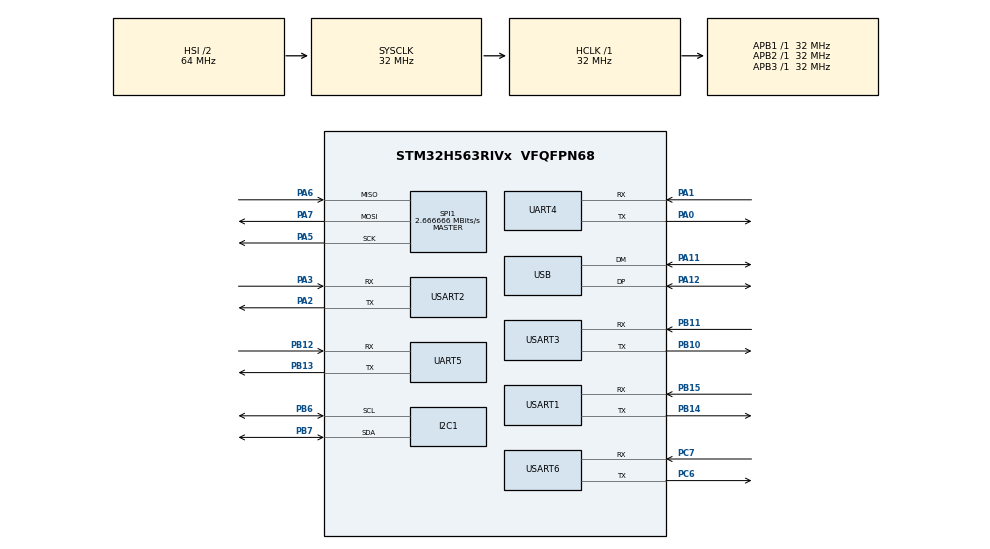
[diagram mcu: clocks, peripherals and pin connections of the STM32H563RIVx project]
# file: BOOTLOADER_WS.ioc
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BOOTPATH.BootPathName=LEGACY
BOOTPATH.UserSelectedBootPath=LEGACY
CORTEX_M33_NS.Number-Cortex_Memory_Protection_Unit_Region0_OTP_RO_AREAS_Settings=MPU_REGION_NUMBER0
CORTEX_M33_NS.default_mode_Activation=1
CORTEX_M33_NS.userName=CORTEX_M33
I2C1.Timing=0x00707CBB
Mcu.Family=STM32H5
Mcu.Name=STM32H563RIVx
Mcu.Package=VFQFPN68
NVIC.PriorityGroup=NVIC_PRIORITYGROUP_4
NVIC.USB_DRD_FS_IRQn=true\:1\:0\:true\:false\:false\:true\:true\:true
PA0.Mode=Asynchronous
PA0.Signal=UART4_TX
PA1.Mode=Asynchronous
PA1.Signal=UART4_RX
PA11.Mode=Device
PA11.Signal=USB_DM
PA12.Mode=Device
PA12.Signal=USB_DP
PA2.Mode=Asynchronous
PA2.Signal=USART2_TX
PA3.Mode=Asynchronous
PA3.Signal=USART2_RX
PA5.Mode=Full_Duplex_Master
PA5.Signal=SPI1_SCK
PA6.Mode=Full_Duplex_Master
PA6.Signal=SPI1_MISO
PA7.Mode=Full_Duplex_Master
PA7.Signal=SPI1_MOSI
PB10.Mode=Asynchronous
PB10.Signal=USART3_TX
PB11.Mode=Asynchronous
PB11.Signal=USART3_RX
PB12.Mode=Asynchronous
PB12.Signal=UART5_RX
PB13.Mode=Asynchronous
PB13.Signal=UART5_TX
PB14.Mode=Asynchronous
PB14.Signal=USART1_TX
PB15.Mode=Asynchronous
PB15.Signal=USART1_RX
PB6.Mode=I2C
PB6.Signal=I2C1_SCL
PB7.Mode=I2C
PB7.Signal=I2C1_SDA
PC6.Mode=Asynchronous
PC6.Signal=USART6_TX
PC7.Mode=Asynchronous
PC7.Signal=USART6_RX
ProjectManager.HeapSize=0x2000
ProjectManager.StackSize=0x2000
ProjectManager.TargetToolchain=CMake
RCC.ADCFreq_Value=32000000
RCC.AHBFreq_Value=32000000
RCC.APB1Freq_Value=32000000
RCC.APB1TimFreq_Value=32000000
RCC.APB2Freq_Value=32000000
RCC.APB2TimFreq_Value=32000000
RCC.APB3Freq_Value=32000000
RCC.CSI_VALUE=4000000
RCC.CortexFreq_Value=32000000
RCC.EPOD_VALUE=4000000
RCC.HCLKFreq_Value=32000000
RCC.HSE_VALUE=25000000
RCC.HSI48_VALUE=48000000
RCC.HSI_VALUE=64000000
RCC.LSE_VALUE=32768
RCC.LSIRC_VALUE=32000
RCC.PLL1Q=3
RCC.PLLFRACN=0
RCC.PLLN=32
RCC.SYSCLKFreq_VALUE=32000000
RCC.USBFreq_Value=48000000
RCC.VCOOutputFreq_Value=128000000
SPI1.BaudRatePrescaler=SPI_BAUDRATEPRESCALER_16
SPI1.CalculateBaudRate=2.666666 MBits/s
SPI1.Direction=SPI_DIRECTION_2LINES
SPI1.Mode=SPI_MODE_MASTER
SPI1.VirtualType=VM_MASTER
TIM1.PeriodNoDither=99
TIM1.Prescaler=31
USART1.VirtualMode-Asynchronous=VM_ASYNC
USART2.VirtualMode-Asynchronous=VM_ASYNC
USART3.VirtualMode-Asynchronous=VM_ASYNC
USART6.VirtualMode=VM_ASYNC
USB.VirtualMode=Device_Only
VP_BOOTPATH_VS_BOOTPATH.Mode=BP_Activate
VP_CORTEX_M33_NS_VS_Hclk.Mode=Hclk_Mode
VP_ICACHE_VS_ICACHE.Mode=DirectMappedCache
VP_MEMORYMAP_VS_MEMORYMAP.Mode=CurAppReg
VP_PWR_VS_LPOM.Mode=PowerOptimisation
VP_PWR_VS_SECSignals.Mode=Security/Privilege
VP_TIM1_VS_ClockSourceINT.Mode=Internal
board=custom

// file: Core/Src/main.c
/* USER CODE BEGIN Header */
/**
  ******************************************************************************
  * @file           : main.c
  * @brief          : Main program body
  ******************************************************************************
  * @attention
  *
  * Copyright (c) 2026 STMicroelectronics.
  * All rights reserved.
  *
  * This software is licensed under terms that can be found in the LICENSE file
  * in the root directory of this software component.
  * If no LICENSE file comes with this software, it is provided AS-IS.
  *
  ******************************************************************************
  */
/* USER CODE END Header */
#include "main.h"
#include "i2c.h"
#include "icache.h"
#include "spi.h"
#include "tim.h"
#include "usart.h"
#include "usb.h"
#include "gpio.h"

/* USER CODE BEGIN Includes */
#include "bootloader.h"
#include "new_bootloader.h"
#include "tusb.h"
#include "stm32h5xx_hal.h"
#include "flash_define.h"
#include "boot_debug.h"
#include "logger.h"
#include "stdio.h"
#include "string.h"
/* USER CODE END Includes */

void SystemClock_Config(void);
static void MPU_Config(void);

/* USER CODE BEGIN 0 */

#define NUM_UART  6

/*IN real board uart log is uart 6 but recently we don't have real board therefore we must use a board which has
stm32h563riv6 like real board and in this board uart log is uart3 to test bootloader --- thanks for reading*/

static UART_HandleTypeDef *sx_uart[NUM_UART] = {&huart1, &huart2, &huart3, &huart4, &huart5, &huart6};

typedef enum{
  UART_LTE = 0,
  UART_GPS,
  UART_RS485,
  UART_DUST_SENSOR,
  UART_EXTEND_UART,
  UART_LOG
}UART_INDEX;

static const char *TAG = "MAIN";

void bsp_log_send(const char *str){
  HAL_UART_Transmit(sx_uart[UART_LOG], (uint8_t *)str, strlen(str), 10);
}

int __io_putchar(int ch)
{
  uint8_t c = (uint8_t)ch;
  HAL_UART_Transmit(sx_uart[2], &c, 1, 10);
  return ch;
}

__attribute__((optimize("O0"))) static void goto_application(volatile uint32_t address)
{
  BOOT_DEBUG("Gonna Jump to Application 0x%08X",(unsigned int)address);
  volatile void (*app_reset_handler)(void) = (void *)(*((volatile uint32_t *)(address + 4U)));

  /* Disable global interrupts BEFORE touching any peripheral. Without this,
   * an interrupt (USB, UART RX, ...) firing mid-deinit would be serviced
   * using VTOR that still points at the bootloader's vector table, while
   * the peripheral registers it expects may already be half-reset — a
   * classic bootloader jump race. Deliberately NOT re-enabled at the end:
   * the app's own startup/reset handler decides when it's ready for
   * interrupts, so we leave PRIMASK set and let it take over that decision. */
  __disable_irq();

  /* Reset the Clock */

  /*Clear UART, ......, peripherals*/
  for(uint8_t i=0; i<NUM_UART; i++){
    HAL_UART_DeInit(sx_uart[i]);
  }

  /*Clear I2C*/   // In application, project use I2C1
  HAL_I2C_DeInit(&hi2c1);

  /*Clear Timer*/ // In application, project use TIM1
  HAL_TIM_Base_DeInit(&htim1);

  /*Clear SPI*/   // In application, project use SPI1
  HAL_SPI_DeInit(&hspi1);

  /*Clear USB*/   // In application, project use USB FS
  HAL_PCD_DeInit(&hpcd_USB_DRD_FS);

  HAL_ICACHE_Disable();
  HAL_RCC_DeInit();
  HAL_DeInit();

  /* Clear NVIC enable + pending state so the app starts with a clean
   * interrupt controller, instead of inheriting whichever IRQs the
   * bootloader (e.g. USB for tud_task()) had enabled/pending. */
  for (uint8_t i = 0; i < 8U; i++) {
    NVIC->ICER[i] = 0xFFFFFFFFUL;
    NVIC->ICPR[i] = 0xFFFFFFFFUL;
  }

  SysTick->CTRL = 0;
  SysTick->LOAD = 0;
  SysTick->VAL = 0;

  __set_MSP(*(volatile uint32_t *)address);
  /* Jump to application */
  SCB->VTOR = address;
  app_reset_handler(); // call the app reset handler
}

// DFU write target is chosen at runtime via g_dfu_target_factory (set by
// new_bootloader_check_commands() when BKP2R == BOOT_MAGIC_UPDATE_FACTORY):
//   false (default) -> Secondary. After manifest, bootloader_process() swaps
//     Secondary -> Primary on the next loop iteration (existing OTA path).
//   true             -> Factory. Written directly, no swap/activation
//     afterwards - Factory is just a read-only source for rollback-factory.
// Replaces the old hardcoded-to-Secondary APP_START_ADDR/APP_MAX_SIZE
// macros; call sites below now call these functions instead.
static inline uint32_t APP_START_ADDR(void)
{
  return g_dfu_target_factory ? FACTORY_APP_FLASH_START_ADDRESS : SECONDARY_APP_FLASH_START_ADDRESS;
}
static inline uint32_t APP_MAX_SIZE(void)
{
  return g_dfu_target_factory ? FACTORY_APP_FLASH_SIZE : SECONDARY_APP_FLASH_SIZE;
}
// #define FLASH_SECTOR_SIZE   0x2000UL                       // 8KB sectors on H5
#define QUADWORD_SIZE       16U                               // 128-bit program width

static uint32_t _write_addr;                                  // next flash address to write
Bootloader_t *dfu_boot = NULL;

//--------------------------------------------------------------------
// TinyUSB DFU callbacks
//--------------------------------------------------------------------

void dfu_app_init(void)
{
  LOGI(TAG, "dfu_app_init");
  _write_addr = APP_START_ADDR();
}

// Called before DFU_DNLOAD is acked. Return time (ms) host should wait
// before sending GET_STATUS; use it to stretch out flash erase time.
uint32_t tud_dfu_get_timeout_cb(uint8_t alt, uint8_t state)
{
    (void) alt;
    LOGI(TAG, "tud_dfu_get_timeout_cb\r\n");
    if (state == DFU_DNBUSY) return 50; // erase/program time budget per block
    return 0;
}

// Invoked when DFU_DNLOAD request is received.
// Must call tud_dfu_finish_flashing() when done (can be immediate here
// since HAL_FLASH_Program is blocking).
void tud_dfu_download_cb(uint8_t alt, uint16_t block_num, uint8_t const *data, uint16_t length)
{
    (void) alt;
    LOGI(TAG, "tud_dfu_download_cb\r\n");
    if (block_num == 0)
    {
        dfu_app_init();
        // Use the existing boot_flash_erase() helper (see boot_flash.c) rather
        // than calling HAL_FLASHEx_Erase() directly here — it already handles
        // the sector-index-relative-to-bank-base math and Bank 1/2 selection
        // correctly. An earlier version of this callback computed
        // erase.Sector as an absolute address / FLASH_SECTOR_SIZE without
        // subtracting FLASH_BASE first, which silently produced an
        // out-of-range sector number (only the low bits landed in the
        // hardware's SNB field), erasing/targeting the wrong sector and
        // causing DFU_DNLOAD to fail immediately at block 0.
        boot_flash_erase(&dfu_boot->boot_flash, APP_START_ADDR(), APP_MAX_SIZE());
    }

    if (_write_addr + length - APP_START_ADDR() > APP_MAX_SIZE())
    {
        tud_dfu_finish_flashing(DFU_STATUS_ERR_ADDRESS);
        return;
    }
    // flash_write(data, length);
    boot_flash_write(&dfu_boot->boot_flash,_write_addr,data,length);
    _write_addr += length;
    tud_dfu_finish_flashing(DFU_STATUS_OK);
}

// Invoked when download process is complete, host sends DFU_DNLOAD with
// length 0. App now should complete the flashing process and reboot.
void tud_dfu_manifest_cb(uint8_t alt)
{
    (void) alt;
    LOGI(TAG, "tud_dfu_manifest_cb");
    // HAL_FLASH_Unlock();
    // flush_quadword(); // write any trailing partial quad-word
    // HAL_FLASH_Lock();
    dfu_boot->boot_flash.partition.isUpgradeInProgress = false;
    if (g_dfu_target_factory)
    {
      // New image now sits in Factory only - a read-only source for a
      // future rollback-factory, not something to activate. Do NOT set
      // isNewFirmwareAvailable (that would trigger a Secondary->Primary
      // swap next loop, which has nothing to do with this DFU session).
      // With both flags false, bootloader_process()'s next iteration
      // falls through to its else branch and jumps straight to the
      // (unchanged) Primary application.
      g_dfu_target_factory = false; // one-shot, back to Secondary-target default
    }
    else
    {
      // New image now sits in Secondary. Flag that a swap (Secondary ->
      // Primary, old Primary preserved into Secondary) is needed.
      // bootloader_process(), called every iteration of the while(1) loop
      // in main(), will see this flag, call boot_swap_firmware(), then
      // jump to the now-updated Primary. We deliberately do NOT jump to
      // application here ourselves.
      dfu_boot->boot_flash.partition.isNewFirmwareAvailable = true;
    }
    bootloader_save_partition(dfu_boot);
    // Tell TinyUSB we're done manifesting (no separate reboot needed since
    // DFU_ATTR_MANIFESTATION_TOLERANT is set — host can still GET_STATUS).
    tud_dfu_finish_flashing(DFU_STATUS_OK);

    // Give the host a moment to read the final GET_STATUS. The next
    // while(1) loop iteration's bootloader_process() call performs the
    // actual swap and jump — see main().
    HAL_Delay(200);
}

// Invoked when receiving DFU_UPLOAD request, application should fill
// buffer of length and return the actual number of bytes available.
// Return 0 to stop further uploads (used for firmware read-back/verify).
uint16_t tud_dfu_upload_cb(uint8_t alt, uint16_t block_num, uint8_t *data, uint16_t length)
{
    (void) alt;
    LOGI(TAG, "tud_dfu_upload_cb\r\n");
    uint32_t addr = APP_START_ADDR() + (uint32_t) block_num * length;

    if (addr >= APP_START_ADDR() + APP_MAX_SIZE()) return 0;

    uint32_t remain = (APP_START_ADDR() + APP_MAX_SIZE()) - addr;
    uint16_t n = (remain < length) ? (uint16_t) remain : length;

    memcpy(data, (void const *) addr, n);
    return n;
}

void tud_dfu_abort_cb(uint8_t alt)
{
    (void) alt;
    LOGI(TAG, "tud_dfu_abort_cb\r\n");
    dfu_app_init();
}

// Only used if CFG_TUD_DFU_RUNTIME is enabled instead of/alongside DFU mode.
void tud_dfu_detach_cb(void)
{
  LOGI(TAG, "tud_dfu_detach_cb\r\n");
  NVIC_SystemReset();
}

int read_boot_button(){
  return (int) 1;
}

void USB_DRD_FS_IRQHandler(void)
{
    tud_int_handler(0);
}

/* USER CODE END 0 */

int main(void)
{

  /* MCU Configuration--------------------------------------------------------*/

  /* MPU Configuration--------------------------------------------------------*/
  MPU_Config();

  /* Reset of all peripherals, Initializes the Flash interface and the Systick. */
  HAL_Init();

  /* Configure the system clock */
  SystemClock_Config();

  /* Initialize all configured peripherals */
  MX_GPIO_Init();
  MX_ICACHE_Init();
  MX_USART1_UART_Init();
  MX_USB_PCD_Init();
  MX_USART3_UART_Init();
  MX_I2C1_Init();
  MX_SPI1_Init();
  MX_TIM1_Init();
  MX_UART4_Init();
  MX_UART5_Init();
  MX_USART2_UART_Init();
  MX_USART6_UART_Init();
  /* USER CODE BEGIN 2 */
  // tusb_init(BOARD_TUD_RHPORT);
  tusb_init();
  dfu_app_init();
  logger_init(LOGGER_DEBUG, bsp_log_send);
  LOGI(TAG, "BOOTLOADER TEST DONE!!!!");
  Bootloader_t bootloader;
  bootloader_init(&bootloader, goto_application,read_boot_button, &boot_flash_functions);
  dfu_boot = &bootloader;
  /* USER CODE END 2 */

  /* Infinite loop */
  while (1)
  {

    /* USER CODE BEGIN 3 */
    tud_task();
    bootloader_process(&bootloader);
  }
  /* USER CODE END 3 */
}

void SystemClock_Config(void)
{
  RCC_OscInitTypeDef RCC_OscInitStruct = {0};
  RCC_ClkInitTypeDef RCC_ClkInitStruct = {0};

  /** Configure the main internal regulator output voltage
  */
  __HAL_PWR_VOLTAGESCALING_CONFIG(PWR_REGULATOR_VOLTAGE_SCALE3);

  while(!__HAL_PWR_GET_FLAG(PWR_FLAG_VOSRDY)) {}

  /** Initializes the RCC Oscillators according to the specified parameters
  * in the RCC_OscInitTypeDef structure.
  */
  RCC_OscInitStruct.OscillatorType = RCC_OSCILLATORTYPE_HSI48|RCC_OSCILLATORTYPE_HSI
                              |RCC_OSCILLATORTYPE_CSI;
  RCC_OscInitStruct.HSIState = RCC_HSI_ON;
  RCC_OscInitStruct.HSIDiv = RCC_HSI_DIV2;
  RCC_OscInitStruct.HSICalibrationValue = RCC_HSICALIBRATION_DEFAULT;
  RCC_OscInitStruct.HSI48State = RCC_HSI48_ON;
  RCC_OscInitStruct.CSIState = RCC_CSI_ON;
  RCC_OscInitStruct.CSICalibrationValue = RCC_CSICALIBRATION_DEFAULT;
  RCC_OscInitStruct.PLL.PLLState = RCC_PLL_ON;
  RCC_OscInitStruct.PLL.PLLSource = RCC_PLL1_SOURCE_CSI;
  RCC_OscInitStruct.PLL.PLLM = 1;
  RCC_OscInitStruct.PLL.PLLN = 32;
  RCC_OscInitStruct.PLL.PLLP = 2;
  RCC_OscInitStruct.PLL.PLLQ = 3;
  RCC_OscInitStruct.PLL.PLLR = 2;
  RCC_OscInitStruct.PLL.PLLRGE = RCC_PLL1_VCIRANGE_2;
  RCC_OscInitStruct.PLL.PLLVCOSEL = RCC_PLL1_VCORANGE_WIDE;
  RCC_OscInitStruct.PLL.PLLFRACN = 0;
  if (HAL_RCC_OscConfig(&RCC_OscInitStruct) != HAL_OK)
  {
    Error_Handler();
  }

  /** Initializes the CPU, AHB and APB buses clocks
  */
  RCC_ClkInitStruct.ClockType = RCC_CLOCKTYPE_HCLK|RCC_CLOCKTYPE_SYSCLK
                              |RCC_CLOCKTYPE_PCLK1|RCC_CLOCKTYPE_PCLK2
                              |RCC_CLOCKTYPE_PCLK3;
  RCC_ClkInitStruct.SYSCLKSource = RCC_SYSCLKSOURCE_HSI;
  RCC_ClkInitStruct.AHBCLKDivider = RCC_SYSCLK_DIV1;
  RCC_ClkInitStruct.APB1CLKDivider = RCC_HCLK_DIV1;
  RCC_ClkInitStruct.APB2CLKDivider = RCC_HCLK_DIV1;
  RCC_ClkInitStruct.APB3CLKDivider = RCC_HCLK_DIV1;

  if (HAL_RCC_ClockConfig(&RCC_ClkInitStruct, FLASH_LATENCY_1) != HAL_OK)
  {
    Error_Handler();
  }

  /** Configure the programming delay
  */
  __HAL_FLASH_SET_PROGRAM_DELAY(FLASH_PROGRAMMING_DELAY_0);
}

 /* MPU Configuration */

void MPU_Config(void)
{
  MPU_Region_InitTypeDef MPU_InitStruct = {0};
  MPU_Attributes_InitTypeDef MPU_AttributesInit = {0};

  /* Disables the MPU */
  HAL_MPU_Disable();

  /** Initializes and configures the Region 0 and the memory to be protected
  */
  MPU_InitStruct.Enable = MPU_REGION_ENABLE;
  MPU_InitStruct.Number = MPU_REGION_NUMBER0;
  MPU_InitStruct.BaseAddress = 0x08FFF000;
  MPU_InitStruct.LimitAddress = 0x08FFFFFF;
  MPU_InitStruct.AttributesIndex = MPU_ATTRIBUTES_NUMBER0;
  MPU_InitStruct.AccessPermission = MPU_REGION_ALL_RO;
  MPU_InitStruct.DisableExec = MPU_INSTRUCTION_ACCESS_DISABLE;
  MPU_InitStruct.IsShareable = MPU_ACCESS_NOT_SHAREABLE;

  HAL_MPU_ConfigRegion(&MPU_InitStruct);

  /** Initializes and configures the Attribute 0 and the memory to be protected
  */
  MPU_AttributesInit.Number = MPU_ATTRIBUTES_NUMBER0;
  MPU_AttributesInit.Attributes = INNER_OUTER(MPU_NOT_CACHEABLE);

  HAL_MPU_ConfigMemoryAttributes(&MPU_AttributesInit);
  /* Enables the MPU */
  HAL_MPU_Enable(MPU_PRIVILEGED_DEFAULT);

}

void Error_Handler(void)
{
  __disable_irq();
  while (1)
  {
  }
}
#ifdef USE_FULL_ASSERT
/**
  * @brief  Reports the name of the source file and the source line number
  *         where the assert_param error has occurred.
  * @param  file: pointer to the source file name
  * @param  line: assert_param error line source number
  * @retval None
  */
void assert_failed(uint8_t *file, uint32_t line)
{
  /* USER CODE BEGIN 6 */
  /* User can add his own implementation to report the file name and line number,
    //  ex: LOGI("Wrong parameters value: file %s on line %d\r\n", file, line) */
  /* USER CODE END 6 */
}
#endif /* USE_FULL_ASSERT */
